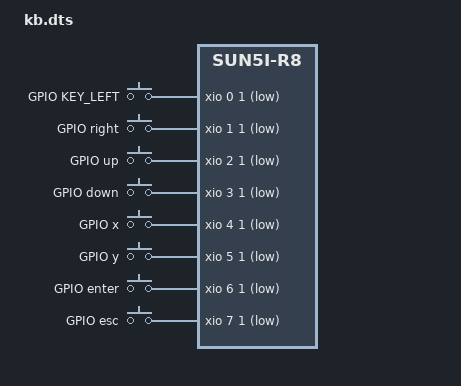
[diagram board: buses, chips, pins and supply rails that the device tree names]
/*
 * Copyright 2016 
 * Kolja Windeler <kolja.windeler@gmail.com>
 *
 * Thanks to Martin Ayotte
 * https://bbs.nextthing.co/t/self-help-group-to-understand-device-tree-overlays/5817/39
 *
 * This file is dual-licensed: you can use it either under the terms
 * of the GPL or the X11 license, at your option. Note that this dual
 * licensing only applies to this file, and not this project as a
 * whole.
 *
 *  a) This file is free software; you can redistribute it and/or
 *     modify it under the terms of the GNU General Public License as
 *     published by the Free Software Foundation; either version 2 of the
 *     License, or (at your option) any later version.
 *
 *     This file is distributed in the hope that it will be useful,
 *     but WITHOUT ANY WARRANTY; without even the implied warranty of
 *     MERCHANTABILITY or FITNESS FOR A PARTICULAR PURPOSE.  See the
 *     GNU General Public License for more details.
 *
 * Or, alternatively,
 *
 *  b) Permission is hereby granted, free of charge, to any person
 *     obtaining a copy of this software and associated documentation
 *     files (the "Software"), to deal in the Software without
 *     restriction, including without limitation the rights to use,
 *     copy, modify, merge, publish, distribute, sublicense, and/or
 *     sell copies of the Software, and to permit persons to whom the
 *     Software is furnished to do so, subject to the following
 *     conditions:
 *
 *     The above copyright notice and this permission notice shall be
 *     included in all copies or substantial portions of the Software.
 *
 *     THE SOFTWARE IS PROVIDED "AS IS", WITHOUT WARRANTY OF ANY KIND,
 *     EXPRESS OR IMPLIED, INCLUDING BUT NOT LIMITED TO THE WARRANTIES
 *     OF MERCHANTABILITY, FITNESS FOR A PARTICULAR PURPOSE AND
 *     NONINFRINGEMENT. IN NO EVENT SHALL THE AUTHORS OR COPYRIGHT
 *     HOLDERS BE LIABLE FOR ANY CLAIM, DAMAGES OR OTHER LIABILITY,
 *     WHETHER IN AN ACTION OF CONTRACT, TORT OR OTHERWISE, ARISING
 *     FROM, OUT OF OR IN CONNECTION WITH THE SOFTWARE OR THE USE OR
 *     OTHER DEALINGS IN THE SOFTWARE.
 */

/dts-v1/;
/plugin/;

#include <dt-bindings/pinctrl/sun4i-a10.h>
#include <dt-bindings/gpio/gpio.h>
#include <dt-bindings/input/input.h>
#include <dt-bindings/interrupt-controller/irq.h>

/ {
	compatible = "nextthing,chip", "allwinner,sun5i-r8";

   fragment@0 {
      target-path = "/";
      __overlay__ {
         mykeypad: mykeypad {
            compatible = "gpio-keys";
            #address-cells = <1>;
            #size-cells = <0>;
            status = "okay";
            button@10 {
               label = "GPIO KEY_LEFT";
               linux,code = <0x69>; // hex
               gpios = <&xio 0 1 1>; // pin 0, active_low
            };
            button@11 {
               label = "GPIO right";
               linux,code = <0x6a>;
               gpios = <&xio 1 1 1>; // pin 1, active_low
            };
            button@12 {
               label = "GPIO up";
               linux,code = <0x67>;
               gpios = <&xio 2 1 1>; // pin 2, active_low
            };
            button@13 {
               label = "GPIO down";
               linux,code = <0x6c>;
               gpios = <&xio 3 1 1>; // pin 3, active_low
            };
            button@14 {
               label = "GPIO x";
               linux,code = <0x2d>;
               gpios = <&xio 4 1 1>; // pin 4, active_low
            };
            button@15 {
               label = "GPIO y";
               linux,code = <0x15>;
               gpios = <&xio 5 1 1>; // pin 5, active_low
            };
            button@16 {
               label = "GPIO enter";
               linux,code = <0x1c>;
               gpios = <&xio 6 1 1>; // pin 6, active_low
            };
            button@17 {
               label = "GPIO esc";
               linux,code = <0x01>;
               gpios = <&xio 7 1 1>; // pin 7, active_low
            };
         };
      };
   };

   __overrides__ {
      mykeypad =     <&mykeypad>,"status";
   };	
};
